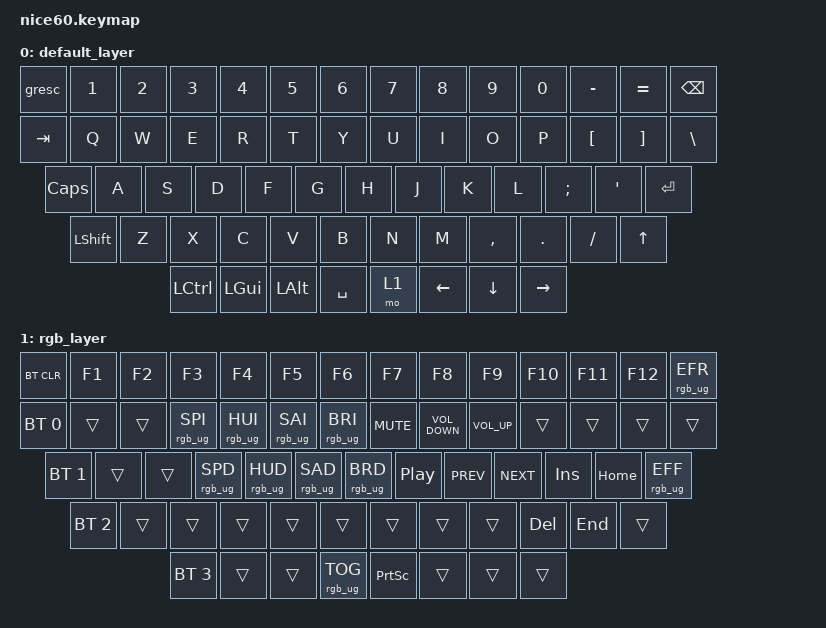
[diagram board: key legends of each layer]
/*
 * Copyright (c) 2021 Nick Winans
 *
 * SPDX-License-Identifier: MIT
 */

#include <behaviors.dtsi>
#include <dt-bindings/zmk/keys.h>
#include <dt-bindings/zmk/rgb.h>
#include <dt-bindings/zmk/bt.h>
#include <dt-bindings/zmk/outputs.h>
#include <dt-bindings/zmk/reset.h>
#include <dt-bindings/zmk/ext_power.h>

/ {
	keymap {
		compatible = "zmk,keymap";
		
		default_layer {
// ------------------------------------------------------------------------------------------
// | ESC |  1  |  2  |  3  |  4  |  5  |  6  |  7  |  8  |  9  |  0  |  -  |  =  |   BKSP   |
// | TAB  |  Q  |  W  |  E  |  R  |  T  |  Y  |  U  |  I  |  O  |  P  |  [  |  ]  |   "|"   |
// | CAPS  |  A  |  S  |  D  |  F  |  G  |  H  |  J  |  K  |  L  |  ;  |  '  |     ENTER    |
// |  SHIFT  |  Z  |  X  |  C  |  V  |  B  |  N  |  M  |  ,  |  .  |  /  |      UP ARROW       |
// |  CTL  |  WIN  |  ALT  |            SPACE              |  MO(1)  | LEFT ARROW  |  DOWN ARROW |  RIGHT ARROW  |
// ------------------------------------------------------------------------------------------
			bindings = <
	&gresc  &kp N1 &kp N2 &kp N3 &kp N4 &kp N5 &kp N6 &kp N7 &kp N8 &kp N9 &kp N0 &kp MINUS &kp EQUAL  &kp BSPC
	&kp TAB  &kp Q  &kp W  &kp E  &kp R  &kp T  &kp Y  &kp U  &kp I  &kp O  &kp P  &kp LBKT  &kp RBKT  &kp BSLH
	&kp CLCK  &kp A  &kp S  &kp D  &kp F  &kp G  &kp H  &kp J  &kp K  &kp L  &kp SEMI &kp SQT           &kp RET
	&kp LSHFT   &kp Z  &kp X  &kp C  &kp V  &kp B  &kp N  &kp M  &kp COMMA &kp DOT &kp FSLH           &kp UP
	&kp LCTRL &kp LGUI &kp LALT             &kp SPACE                     &mo 1  &kp LEFT  &kp DOWN   &kp RIGHT
			>;
		};

		rgb_layer {
// ------------------------------------------------------------------------------------------------
// | BT CLR | F1  | F2  | F3  | F4  | F5  | F6  | F7  | F8  | F9  | F10  | F11 | F12 | EFFECT REV |
// |  BT 1   |   | |   | HUEUP | SATUP | BRIUP | SPDUP |   |MUTE|VOLUME DOWN|VOLUME UP|  |        |
// |   BT 2   | | | SPDDN | HUEDN | SATDN | BRIDN |PLAY/PAUSE|PREVIOUS|NEXT| INS | HOME |  EFFECT FORW |
// |    BT 3     |     |      |      |     |     |     |     |     | DEL |  END   |                  |
// |   BT 4  |      |      |             TOG RGB                |         |       |       |       |
// ------------------------------------------------------------------------------------------------
			bindings = <
	&bt BT_CLR   &kp F1    &kp F2    &kp F3  &kp F4           &kp F5          &kp F6          &kp F7          &kp F8   &kp F9   &kp F10  &kp F11 &kp F12  &rgb_ug RGB_EFR
	&bt BT_SEL 0  &trans    &trans    &rgb_ug RGB_SPI  &rgb_ug RGB_HUI  &rgb_ug RGB_SAI &rgb_ug RGB_BRI   &kp C_MUTE   &kp C_VOLUME_DOWN   &kp C_VOLUME_UP &trans &trans  &trans &trans 
	&bt BT_SEL 1   &trans  &trans  &rgb_ug RGB_SPD &rgb_ug RGB_HUD &rgb_ug RGB_SAD &rgb_ug RGB_BRD &kp C_PP &kp C_PREV   &kp C_NEXT   &kp INS   &kp HOME        &rgb_ug RGB_EFF
	&bt BT_SEL 2    &trans    &trans    &trans   &trans          &trans          &trans          &trans          &trans   &kp DEL   &kp END                          &trans
	&bt BT_SEL 3  &trans   &trans                            &rgb_ug RGB_TOG                                      &kp PSCRN      &trans      &trans               &trans
			>;
		};
	};
};
